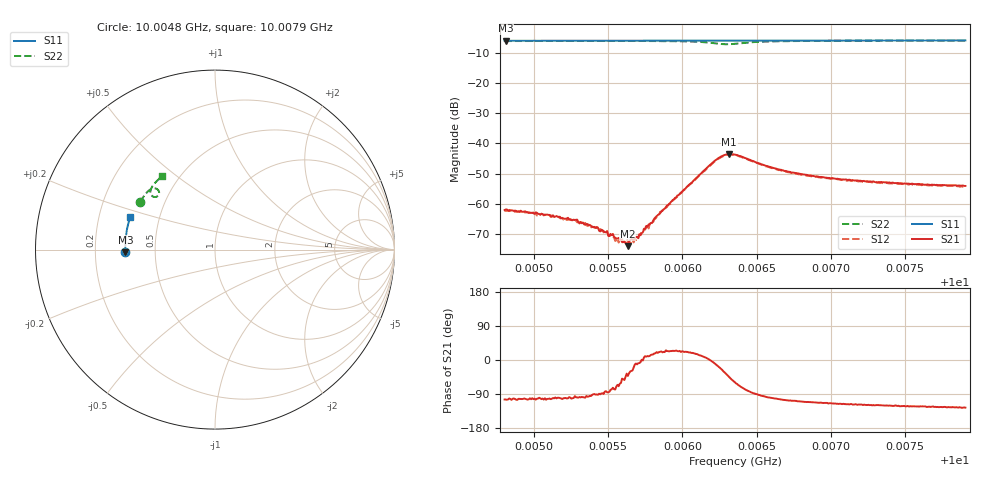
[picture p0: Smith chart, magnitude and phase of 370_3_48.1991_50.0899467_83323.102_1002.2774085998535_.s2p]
#  HZ  S  RI  R  50.00
! Rohde & Schwarz Vector Network Analyzer
! Rohde-Schwarz,ZNB20-2Port,1311601062101988,3.16
! Created: UTC 3/20/2024, 11:52:40 AM
! freq[Hz]  re:S11  im:S11  re:S21  im:S21  re:S12  im:S12  re:S22  im:S22
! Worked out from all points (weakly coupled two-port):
!   401 points, 10.0048 GHz to 10.0079 GHz, reference 50 ohm
!   highest |S21| = -43.56 dB at 10.00632 GHz (marker M1); lowest = -74.1 dB at 10.00563 GHz (marker M2)
!   lowest |S11| = -6.0 dB at 10.00481 GHz (marker M3), VSWR 2.99, Z = 16.7 - j0.644 ohm
!   |S11| at or under -10 dB: nowhere
!   |S22| runs from -7.2 to -6.0 dB; largest |S21 - S12| = 0.00039
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1.0004803e10  -0.499 -0.0149  -0.000191 -0.000761  -0.00012 -0.000762  -0.416 0.266
1.0004811e10  -0.4989 -0.0145  -0.000197 -0.000779  -0.000114 -0.000752  -0.4156 0.2664
1.0005113e10  -0.4998 0.00522  -0.000141 -0.000591  -9.72e-05 -0.000634  -0.405 0.2843
1.0005276e10  -0.4999 0.0159  -5.04e-05 -0.000532  -5.43e-05 -0.000524  -0.3986 0.294
1.0005322e10  -0.4998 0.0187  -6.18e-05 -0.00047  -5.29e-05 -0.000482  -0.3966 0.2968
1.0005454e10  -0.4998 0.0273  1.26e-05 -0.000372  2.16e-05 -0.000355  -0.3908 0.3046
1.0005555e10  -0.4996 0.0338  9.16e-05 -0.00025  9.65e-05 -0.000228  -0.386 0.3107
1.0005617e10  -0.4994 0.0379  0.000157 -0.000155  0.000172 -0.000173  -0.3828 0.3148
1.0005633e10  -0.4993 0.0389  0.000147 -0.000132  0.000194 -0.00013  -0.3819 0.3157
1.0005656e10  -0.4993 0.0403  0.000227 -0.000125  0.0002 -0.000109  -0.3807 0.317
1.0005687e10  -0.4991 0.0424  0.000277 -4.54e-05  0.000244 -5.35e-05  -0.379 0.319
1.0005718e10  -0.4991 0.0444  0.000298 -2.88e-05  0.000308 7.17e-06  -0.3771 0.321
1.0005757e10  -0.4989 0.047  0.000424 6.59e-05  0.000394 8.19e-05  -0.3747 0.3235
1.0005842e10  -0.4985 0.0526  0.000626 0.000237  0.000599 0.000242  -0.3687 0.3291
1.0006207e10  -0.4958 0.076  0.00483 -0.000485  0.00473 -0.000242  -0.3159 0.3307
1.0006269e10  -0.4951 0.0797  0.00553 -0.00276  0.00554 -0.00244  -0.3119 0.3104
1.0006315e10  -0.4946 0.0825  0.00468 -0.00471  0.00482 -0.00437  -0.3221 0.2964
1.0006354e10  -0.4945 0.0848  0.00334 -0.00557  0.00358 -0.0053  -0.3352 0.2929
1.0006633e10  -0.4922 0.1026  -0.000792 -0.00372  -0.000618 -0.00366  -0.3583 0.3334
1.0006874e10  -0.4894 0.118  -0.00104 -0.00269  -0.000939 -0.0027  -0.3476 0.3544
1.0007393e10  -0.4815 0.1504  -0.00113 -0.00194  -0.001 -0.00191  -0.3217 0.3842
1.0007905e10  -0.4716 0.182  -0.00115 -0.0016  -0.00104 -0.00161  -0.2958 0.4075
